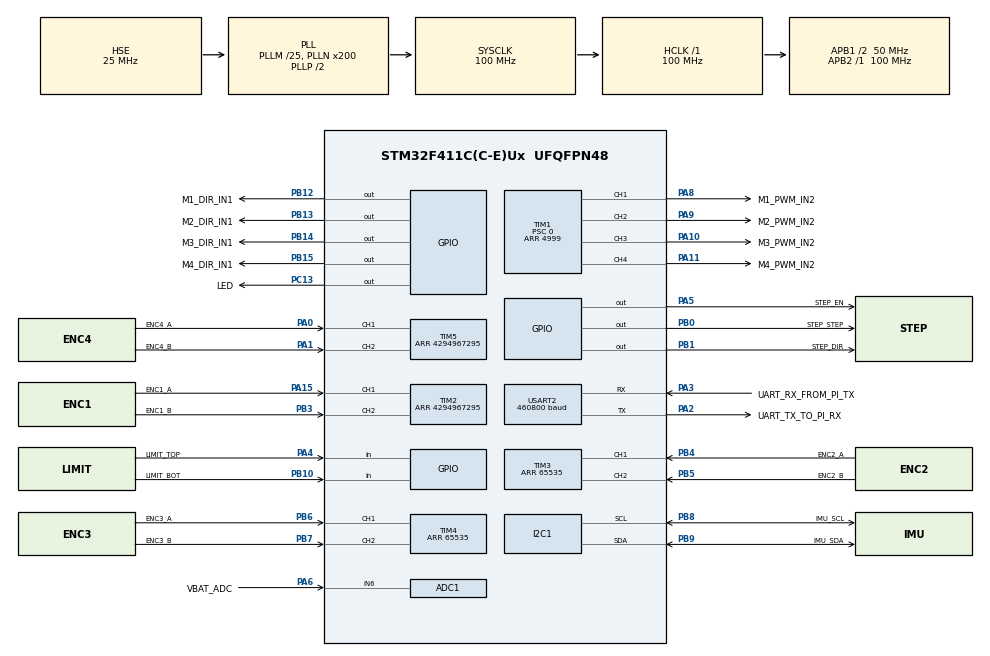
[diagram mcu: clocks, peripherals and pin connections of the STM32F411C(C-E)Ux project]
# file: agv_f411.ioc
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ADC1.Channel-0\#ChannelRegularConversion=ADC_CHANNEL_6
ADC1.NbrOfConversionFlag=1
ADC1.Rank-0\#ChannelRegularConversion=1
ADC1.SamplingTime-0\#ChannelRegularConversion=ADC_SAMPLETIME_480CYCLES
ADC1.master=1
Dma.Request0=USART2_RX
Dma.Request1=USART2_TX
Dma.USART2_RX.0.Direction=DMA_PERIPH_TO_MEMORY
Dma.USART2_RX.0.FIFOMode=DMA_FIFOMODE_DISABLE
Dma.USART2_RX.0.Instance=DMA1_Stream5
Dma.USART2_RX.0.MemDataAlignment=DMA_MDATAALIGN_BYTE
Dma.USART2_RX.0.MemInc=DMA_MINC_ENABLE
Dma.USART2_RX.0.Mode=DMA_CIRCULAR
Dma.USART2_RX.0.PeriphDataAlignment=DMA_PDATAALIGN_BYTE
Dma.USART2_RX.0.PeriphInc=DMA_PINC_DISABLE
Dma.USART2_RX.0.Priority=DMA_PRIORITY_LOW
Dma.USART2_TX.1.Direction=DMA_MEMORY_TO_PERIPH
Dma.USART2_TX.1.FIFOMode=DMA_FIFOMODE_DISABLE
Dma.USART2_TX.1.Instance=DMA1_Stream6
Dma.USART2_TX.1.MemDataAlignment=DMA_MDATAALIGN_BYTE
Dma.USART2_TX.1.MemInc=DMA_MINC_ENABLE
Dma.USART2_TX.1.Mode=DMA_NORMAL
Dma.USART2_TX.1.PeriphDataAlignment=DMA_PDATAALIGN_BYTE
Dma.USART2_TX.1.PeriphInc=DMA_PINC_DISABLE
Dma.USART2_TX.1.Priority=DMA_PRIORITY_LOW
I2C1.I2C_Mode=I2C_Fast
Mcu.Family=STM32F4
Mcu.Name=STM32F411C(C-E)Ux
Mcu.Package=UFQFPN48
NVIC.DMA1_Stream5_IRQn=true\:0\:0\:false\:false\:true\:false\:true\:true
NVIC.DMA1_Stream6_IRQn=true\:0\:0\:false\:false\:true\:false\:true\:true
NVIC.PriorityGroup=NVIC_PRIORITYGROUP_4
NVIC.TIM1_TRG_COM_TIM11_IRQn=true\:1\:0\:false\:false\:true\:true\:true\:true
NVIC.TIM1_UP_TIM10_IRQn=true\:0\:0\:false\:false\:true\:true\:true\:true
NVIC.USART2_IRQn=true\:2\:0\:false\:false\:true\:true\:true\:true
PA0-WKUP.GPIO_Label=ENC4_A
PA0-WKUP.GPIO_PuPd=GPIO_PULLUP
PA0-WKUP.Signal=S_TIM5_CH1
PA1.GPIO_Label=ENC4_B
PA1.GPIO_PuPd=GPIO_PULLUP
PA1.Signal=S_TIM5_CH2
PA10.GPIO_Label=M3_PWM_IN2
PA10.Signal=S_TIM1_CH3
PA11.GPIO_Label=M4_PWM_IN2
PA11.Signal=S_TIM1_CH4
PA13.Mode=Serial_Wire
PA13.Signal=SYS_JTMS-SWDIO
PA14.Mode=Serial_Wire
PA14.Signal=SYS_JTCK-SWCLK
PA15.GPIO_Label=ENC1_A
PA15.GPIO_PuPd=GPIO_PULLUP
PA15.Signal=S_TIM2_CH1_ETR
PA2.GPIO_Label=UART_TX_TO_PI_RX
PA2.Mode=Asynchronous
PA2.Signal=USART2_TX
PA3.GPIO_Label=UART_RX_FROM_PI_TX
PA3.Mode=Asynchronous
PA3.Signal=USART2_RX
PA4.GPIO_Label=LIMIT_TOP
PA4.GPIO_PuPd=GPIO_PULLUP
PA4.Signal=GPIO_Input
PA5.GPIO_Label=STEP_EN
PA5.PinState=GPIO_PIN_SET
PA5.Signal=GPIO_Output
PA6.GPIO_Label=VBAT_ADC
PA6.Signal=ADCx_IN6
PA8.GPIO_Label=M1_PWM_IN2
PA8.Signal=S_TIM1_CH1
PA9.GPIO_Label=M2_PWM_IN2
PA9.Signal=S_TIM1_CH2
PB0.GPIO_Label=STEP_STEP
PB0.GPIO_Speed=GPIO_SPEED_FREQ_HIGH
PB0.Signal=GPIO_Output
PB1.GPIO_Label=STEP_DIR
PB1.Signal=GPIO_Output
PB10.GPIO_Label=LIMIT_BOT
PB10.GPIO_PuPd=GPIO_PULLUP
PB10.Signal=GPIO_Input
PB12.GPIO_Label=M1_DIR_IN1
PB12.Signal=GPIO_Output
PB13.GPIO_Label=M2_DIR_IN1
PB13.Signal=GPIO_Output
PB14.GPIO_Label=M3_DIR_IN1
PB14.Signal=GPIO_Output
PB15.GPIO_Label=M4_DIR_IN1
PB15.Signal=GPIO_Output
PB3.GPIO_Label=ENC1_B
PB3.GPIO_PuPd=GPIO_PULLUP
PB3.Signal=S_TIM2_CH2
PB4.GPIO_Label=ENC2_A
PB4.GPIO_PuPd=GPIO_PULLUP
PB4.Signal=S_TIM3_CH1
PB5.GPIO_Label=ENC2_B
PB5.GPIO_PuPd=GPIO_PULLUP
PB5.Signal=S_TIM3_CH2
PB6.GPIO_Label=ENC3_A
PB6.GPIO_PuPd=GPIO_PULLUP
PB6.Signal=S_TIM4_CH1
PB7.GPIO_Label=ENC3_B
PB7.GPIO_PuPd=GPIO_PULLUP
PB7.Signal=S_TIM4_CH2
PB8.GPIO_Label=IMU_SCL
PB8.GPIO_PuPd=GPIO_PULLUP
PB8.Mode=I2C
PB8.Signal=I2C1_SCL
PB9.GPIO_Label=IMU_SDA
PB9.GPIO_PuPd=GPIO_PULLUP
PB9.Mode=I2C
PB9.Signal=I2C1_SDA
PC13-ANTI_TAMP.GPIO_Label=LED
PC13-ANTI_TAMP.PinState=GPIO_PIN_SET
PC13-ANTI_TAMP.Signal=GPIO_Output
PH0\ -\ OSC_IN.Mode=HSE-External-Oscillator
PH0\ -\ OSC_IN.Signal=RCC_OSC_IN
PH1\ -\ OSC_OUT.Mode=HSE-External-Oscillator
PH1\ -\ OSC_OUT.Signal=RCC_OSC_OUT
ProjectManager.HeapSize=0x200
ProjectManager.StackSize=0x400
ProjectManager.TargetToolchain=STM32CubeIDE
RCC.48MHZClocksFreq_Value=50000000
RCC.AHBFreq_Value=100000000
RCC.APB1CLKDivider=RCC_HCLK_DIV2
RCC.APB1Freq_Value=50000000
RCC.APB1TimFreq_Value=100000000
RCC.APB2Freq_Value=100000000
RCC.APB2TimFreq_Value=100000000
RCC.CortexFreq_Value=100000000
RCC.HCLKFreq_Value=100000000
RCC.HSE_VALUE=25000000
RCC.HSI_VALUE=16000000
RCC.LSE_VALUE=32768
RCC.PLLM=25
RCC.PLLN=200
RCC.PLLP=RCC_PLLP_DIV2
RCC.PLLQ=4
RCC.PLLSourceVirtual=RCC_PLLSOURCE_HSE
RCC.SYSCLKFreq_VALUE=100000000
RCC.SYSCLKSource=RCC_SYSCLKSOURCE_PLLCLK
RCC.VCOOutputFreq_Value=200000000
SH.ADCx_IN6.0=ADC1_IN6,IN6
SH.S_TIM1_CH1.0=TIM1_CH1,PWM Generation1 CH1
SH.S_TIM1_CH2.0=TIM1_CH2,PWM Generation2 CH2
SH.S_TIM1_CH3.0=TIM1_CH3,PWM Generation3 CH3
SH.S_TIM1_CH4.0=TIM1_CH4,PWM Generation4 CH4
SH.S_TIM2_CH1_ETR.0=TIM2_CH1,Encoder_Interface
SH.S_TIM2_CH2.0=TIM2_CH2,Encoder_Interface
SH.S_TIM3_CH1.0=TIM3_CH1,Encoder_Interface
SH.S_TIM3_CH2.0=TIM3_CH2,Encoder_Interface
SH.S_TIM4_CH1.0=TIM4_CH1,Encoder_Interface
SH.S_TIM4_CH2.0=TIM4_CH2,Encoder_Interface
SH.S_TIM5_CH1.0=TIM5_CH1,Encoder_Interface
SH.S_TIM5_CH2.0=TIM5_CH2,Encoder_Interface
TIM1.Channel-PWM\ Generation1\ CH1=TIM_CHANNEL_1
TIM1.Channel-PWM\ Generation2\ CH2=TIM_CHANNEL_2
TIM1.Channel-PWM\ Generation3\ CH3=TIM_CHANNEL_3
TIM1.Channel-PWM\ Generation4\ CH4=TIM_CHANNEL_4
TIM1.Period=4999
TIM1.Prescaler=0
TIM10.Period=999
TIM10.Prescaler=99
TIM11.Period=999
TIM11.Prescaler=99
TIM2.EncoderMode=TIM_ENCODERMODE_TI12
TIM2.IC1Filter=8
TIM2.IC2Filter=8
TIM2.Period=4294967295
TIM3.EncoderMode=TIM_ENCODERMODE_TI12
TIM3.IC1Filter=8
TIM3.IC2Filter=8
TIM3.Period=65535
TIM4.EncoderMode=TIM_ENCODERMODE_TI12
TIM4.IC1Filter=8
TIM4.IC2Filter=8
TIM4.Period=65535
TIM5.EncoderMode=TIM_ENCODERMODE_TI12
TIM5.IC1Filter=8
TIM5.IC2Filter=8
TIM5.Period=4294967295
USART2.BaudRate=460800
USART2.VirtualMode=VM_ASYNC
VP_TIM10_VS_ClockSourceINT.Mode=Enable_Timer
VP_TIM11_VS_ClockSourceINT.Mode=Enable_Timer
VP_TIM1_VS_ClockSourceINT.Mode=Internal
board=custom

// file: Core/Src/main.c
/* USER CODE BEGIN Header */
/**
  ******************************************************************************
  * @file           : main.c
  * @brief          : Main program body
  ******************************************************************************
  * @attention
  *
  * Copyright (c) 2026 STMicroelectronics.
  * All rights reserved.
  *
  * This software is licensed under terms that can be found in the LICENSE file
  * in the root directory of this software component.
  * If no LICENSE file comes with this software, it is provided AS-IS.
  *
  ******************************************************************************
  */
/* USER CODE END Header */
#include "main.h"
#include "adc.h"
#include "dma.h"
#include "i2c.h"
#include "tim.h"
#include "usart.h"
#include "gpio.h"

/* USER CODE BEGIN Includes */
#include "agv_config.h"
#include "batt.h"
#include "console.h"
#include "drive.h"
#include "imu.h"
#include "lift.h"
#include "link.h"
#include "motor.h"
#include "params.h"
#include "wheel.h"
#include <stdlib.h>
#include <string.h>
/* USER CODE END Includes */

/* USER CODE BEGIN PD */
/* USART2 (C11), 460800 8N1:
 *  - Pi gui khung nhi phan (link.h) -> chay that, telemetry nhi phan 50 Hz
 *  - Go lenh chu (CH340) -> console de thu mach, xem print_help() */
/* USER CODE END PD */

/* USER CODE BEGIN PV */
static uint8_t imu_who;
static uint8_t telem_on = 1;          /* in trang thai chu */
static uint32_t telem_ms = TELEM_PERIOD_MS;   /* doi bang lenh "r" */
static uint32_t test_t0;              /* lenh chu "m"/"v" dang chay: tu dung sau MOTOR_TEST_MS */
static uint8_t test_run;
static uint32_t test_len = MOTOR_TEST_MS;
static int32_t drive_counts;          /* lenh "d": so xung trung binh can di (>0), 0 = khong chay */
static int32_t enc_start[4];
static uint32_t link_last_ms;         /* lan cuoi nhan khung hop le */
static uint8_t link_seen, link_timeout, wdg_reset;
static uint8_t lift_was_busy;
/* USER CODE END PV */

void SystemClock_Config(void);

/* USER CODE BEGIN 0 */
static void iwdg_start(void)
{
  IWDG->KR = 0xCCCC;                  /* bat truoc: LSI chi chay sau lenh nay, SR moi xoa duoc */
  IWDG->KR = 0x5555;                  /* mo khoa PR, RLR */
  IWDG->PR = 3;                       /* LSI 32 kHz / 32 = 1 kHz -> 1 don vi = 1 ms */
  IWDG->RLR = IWDG_TIMEOUT_MS;
  while (IWDG->SR) { }
  IWDG->KR = 0xAAAA;
}

static void print_help(void)
{
  /* in tung dong: bo dem Con_Printf chi 192 ky tu */
  Con_Printf("\r\n=== AGV F411 ===\r\n");
  Con_Printf("m <1-4> <-100..100>  PWM tho 1 dong co %lu ms (0 = ca 4)\r\n", (unsigned long)MOTOR_TEST_MS);
  Con_Printf("v <s1> <s2> <s3> <s4> PID toc do (xung/s) %lu ms\r\n", (unsigned long)MOTOR_TEST_MS);
  Con_Printf("d <so xung> <%%>       4 banh chay toi khi du so xung roi dung\r\n");
  Con_Printf("k <KF> <KP> <KI> <KS>  doi he so PID (phan nghin), r <ms> chu ky in\r\n");
  Con_Printf("b vx vy wz giu | g dau kp kd | j ki | c bu_lui he_so | p in | w luu | z xoa luu\r\n");
  Con_Printf("l <so buoc>          nang (+) / ha (-), 1600 buoc = 1 vong\r\n");
  Con_Printf("h                    ve goc (xuong toi cong tac BOT)\r\n");
  Con_Printf("s                    dung tat ca\r\n");
  Con_Printf("t / i / ?            bat-tat in trang thai / in 1 lan / tro giup\r\n");
}

static void print_status(void)
{
  uint32_t mv = Batt_ReadMv();
  Con_Printf("ENC %ld %ld %ld %ld | V %d %d %d %d | PIN %lu.%02lu V | TOP %s BOT %s | LIFT %ld%s%s",
             (long)Wheel_Count(0), (long)Wheel_Count(1), (long)Wheel_Count(2), (long)Wheel_Count(3),
             Wheel_Speed(0), Wheel_Speed(1), Wheel_Speed(2), Wheel_Speed(3),
             (unsigned long)(mv / 1000U), (unsigned long)(mv % 1000U / 10U),
             HAL_GPIO_ReadPin(LIMIT_TOP_GPIO_Port, LIMIT_TOP_Pin) == GPIO_PIN_RESET ? "CHAM" : "-",
             HAL_GPIO_ReadPin(LIMIT_BOT_GPIO_Port, LIMIT_BOT_Pin) == GPIO_PIN_RESET ? "CHAM" : "-",
             (long)Lift_Pos(), Lift_Busy() ? " (chay)" : "", Lift_Homed() ? " goc-OK" : "");
  Con_Printf(" | H %ld", (long)(Drive_Heading() * 10.0f));   /* huong, phan muoi do, + = trai */
  int16_t a[3], g[3];
  if (!imu_who) imu_who = IMU_Init();      /* MPU6050 khoi dong cham hon F411: thu lai */
  if (imu_who && IMU_Read(a, g))
    Con_Printf(" | A %d %d %d G %d %d %d\r\n", a[0], a[1], a[2], g[0], g[1], g[2]);
  else
    Con_Printf(" | IMU loi I2C 0x%02lX\r\n", (unsigned long)HAL_I2C_GetError(&hi2c1));
}

static void stop_all(void)
{
  Drive_Off();
  Wheel_Stop();
  test_run = 0;
  drive_counts = 0;
  Lift_Stop();
  Lift_Enable(0);
}

static void lift_move_up(int32_t steps_up, float sps)
{
  Lift_Enable(1);
  HAL_Delay(2);
  if (!Lift_MoveSteps(steps_up * LIFT_DIR_UP, sps, LIFT_TEST_ACCEL) && !link_seen)
    Con_Printf("khong chay: 0 buoc hoac dang cham cong tac phia do\r\n");
}

static void start_test(void)
{
  test_len = MOTOR_TEST_MS;
  Drive_Off();                                /* lenh banh rieng le */
  drive_counts = 0;                           /* "d" dat lai sau khi goi ham nay */
  for (int ch = 0; ch < 4; ch++) enc_start[ch] = Wheel_Count(ch);
  test_run = 1;
  test_t0 = HAL_GetTick();
}

/* ---------- lenh chu (CH340) ---------- */
static void handle_cmd(char *cmd)
{
  /* Lenh chat: 1 chu cai, sau do chi la so nguyen cach nhau bang dau cach.
   * Sai so luong tham so hoac co ky tu la -> khong lam gi (tranh rac thanh lenh). */
  static const struct { char c; int n; } fmt[] = {
    { 'm', 2 }, { 'v', 4 }, { 'd', 2 }, { 'k', 4 }, { 'r', 1 }, { 'b', 4 }, { 'g', 3 }, { 'c', 2 }, { 'j', 1 }, { 'w', 0 }, { 'p', 0 }, { 'z', 0 }, { 'l', 1 }, { 'h', 0 }, { 's', 0 }, { 't', 0 }, { 'i', 0 }, { '?', 0 },
  };
  char c = cmd[0];
  if (cmd[1] != '\0' && cmd[1] != ' ') c = 0;
  int need = -1;
  for (unsigned k = 0; k < sizeof fmt / sizeof fmt[0]; k++)
    if (fmt[k].c == c) need = fmt[k].n;
  long a[4] = { 0, 0, 0, 0 };
  int got = 0;
  char *p = cmd + 1;
  while (need >= 0) {
    while (*p == ' ') p++;
    if (*p == '\0') break;
    char *e;
    long v = strtol(p, &e, 10);
    if (e == p || got >= 4 || (*e != ' ' && *e != '\0')) { need = -2; break; }
    a[got++] = v;
    p = e;
  }
  if (need < 0 || got != need) {
    if (c == 's') stop_all();                 /* "s" kem rac van coi la dung, cho an toan */
    Con_Printf("bo qua lenh: \"%s\" (go ? de xem lenh)\r\n", cmd);
    return;
  }
  if (c == 'l' && (a[0] > LIFT_MAX_MOVE_STEPS || a[0] < -LIFT_MAX_MOVE_STEPS)) {
    Con_Printf("sai: l toi da +-%ld buoc moi lenh\r\n", (long)LIFT_MAX_MOVE_STEPS);
    return;
  }

  switch (c) {
  case 'm': {
    if (a[0] < 0 || a[0] > 4 || a[1] < -100 || a[1] > 100) {
      Con_Printf("sai: m <0-4> <-100..100>\r\n");
      break;
    }
    Wheel_Stop();                             /* PWM tho, bo qua MOTOR_SIGN de thu tung kenh */
    int32_t duty = (int32_t)(a[1] * MOTOR_PWM_TOP / 100);
    for (int ch = 0; ch < 4; ch++)
      if (a[0] == 0 || a[0] == ch + 1) Motor_Set(ch, duty);
    start_test();
    Con_Printf("chay M%ld %ld%% ...\r\n", a[0], a[1]);
    break;
  }
  case 'd': {                                 /* d <so xung> <%>: 4 banh cung chieu toi khi du xung */
    if (a[0] <= 0 || a[0] > 200000 || a[1] < -100 || a[1] > 100 || a[1] == 0) {
      Con_Printf("sai: d <so xung 1..200000> <-100..100 khac 0>\r\n");
      break;
    }
    int16_t duty = (int16_t)(a[1] * MOTOR_PWM_TOP / 100);
    int16_t d4[4] = { duty, duty, duty, duty };
    Wheel_Stop();
    Wheel_SetPwm(d4);                           /* dau tung banh + tang dan: trong wheel.c */
    start_test();
    drive_counts = (int32_t)a[0];
    Con_Printf("di %ld xung, %ld%% ...\r\n", a[0], a[1]);
    break;
  }
  case 'k': {                                 /* k <kf> <kp> <ki> <ks>: phan nghin, vd k 730 250 2500 600000 */
    Wheel_SetGains(a[0] / 1000.0f, a[1] / 1000.0f, a[2] / 1000.0f, a[3] / 1000.0f);
    float f, pp, ii, ss;
    Wheel_GetGains(&f, &pp, &ii, &ss);
    Con_Printf("PID: KF %ld KP %ld KI %ld KS %ld (phan nghin)\r\n",
               (long)(f * 1000), (long)(pp * 1000), (long)(ii * 1000), (long)(ss * 1000));
    break;
  }
  case 'r':                                   /* r <ms>: chu ky in trang thai 20..2000 ms */
    if (a[0] < 20 || a[0] > 2000) {
      Con_Printf("sai: r <20..2000 ms>\r\n");
      break;
    }
    telem_ms = (uint32_t)a[0];
    telem_on = 1;
    break;
  case 'b': {                                 /* b <vx> <vy> <wz> <giu huong 0/1>: ca xe, xung/s */
    start_test();
    test_len = DRIVE_TEST_MS;
    Drive_Set((int16_t)a[0], (int16_t)a[1], (int16_t)a[2], a[3] != 0);
    Con_Printf("xe vx %ld vy %ld wz %ld giu huong %ld, huong %ld.%01ld do ...\r\n", a[0], a[1], a[2], a[3],
               (long)Drive_Heading(), (long)((Drive_Heading() < 0 ? -Drive_Heading() : Drive_Heading()) * 10) % 10);
    break;
  }
  case 'g': {                                 /* g <dau gyro +-1> <kp*1000> <kd*1000> */
    Drive_SetGyro((int8_t)a[0], a[1] / 1000.0f, a[2] / 1000.0f);
    int8_t sg; float kp_, kd_, b_;
    Drive_GetGyro(&sg, &kp_, &kd_, &b_);
    Con_Printf("gyro dau %d KP %ld KD %ld (phan nghin), lech goc %ld\r\n", sg, (long)(kp_ * 1000), (long)(kd_ * 1000), (long)b_);
    break;
  }
  case 'w':                                   /* luu thong so vao flash (dung xe truoc) */
    stop_all();
    Con_Printf("dang luu ...\r\n");
    Con_Printf(Params_Save() ? "DA LUU thong so vao flash\r\n" : "LUU LOI\r\n");
    break;
  case 'p':
    Params_Print();
    break;
  case 'z':                                   /* xoa ban luu, lan khoi dong sau dung mac dinh */
    stop_all();
    Con_Printf(Params_Clear() ? "da xoa ban luu, reset de dung mac dinh\r\n" : "XOA LOI\r\n");
    break;
  case 'j':                                   /* j <ki*1000>: tich phan giu huong */
    Drive_SetHeadingKi(a[0] / 1000.0f);
    Con_Printf("giu huong KI %ld (phan nghin)\r\n", a[0]);
    break;
  case 'c':                                   /* c <bu lui PWM 0..2500> <he so*1000> */
    if (a[0] < 0 || a[0] > 2500 || a[1] < 300 || a[1] > 1500) {
      Con_Printf("sai: c <0..2500> <300..1500>\r\n");
      break;
    }
    Motor_SetRevComp((int32_t)a[0], a[1] / 1000.0f);
    Con_Printf("bu lui: %ld + %ld/1000 x lenh\r\n", a[0], a[1]);
    break;
  case 'v': {
    int16_t cps[4];
    for (int i = 0; i < 4; i++) cps[i] = (int16_t)a[i];
    Wheel_SetSpeed(cps);
    start_test();
    Con_Printf("PID %ld %ld %ld %ld xung/s ...\r\n", a[0], a[1], a[2], a[3]);
    break;
  }
  case 's':
    stop_all();
    Con_Printf("da dung\r\n");
    break;
  case 'l':
    lift_move_up((int32_t)a[0], LIFT_TEST_SPS);
    Con_Printf("nang ha %ld buoc\r\n", a[0]);
    break;
  case 'h':
    Lift_Enable(1);
    HAL_Delay(2);
    Lift_Home(LIFT_HOME_SPS, LIFT_TEST_ACCEL);
    Con_Printf("ve goc ...\r\n");
    break;
  case 't':
    telem_on = !telem_on;
    break;
  case 'i':
    print_status();
    break;
  default:
    print_help();
    break;
  }
}

/* ---------- khung nhi phan tu Pi ---------- */
static int16_t rd16(const uint8_t *b) { return (int16_t)(b[0] | (b[1] << 8)); }
static int32_t rd32(const uint8_t *b) { return (int32_t)(b[0] | (b[1] << 8) | (b[2] << 16) | ((uint32_t)b[3] << 24)); }

static void handle_frame(const link_frame_t *f)
{
  link_last_ms = HAL_GetTick();
  link_seen = 1;
  link_timeout = 0;
  test_run = 0;                               /* Pi dieu khien -> bo che do thu */
  drive_counts = 0;

  switch (f->cmd) {
  case LINK_CMD_SPEED:
  case LINK_CMD_PWM:
    Drive_Off();
    if (f->len == 8) {
      int16_t v[4];
      for (int i = 0; i < 4; i++) v[i] = rd16(&f->payload[2 * i]);
      if (f->cmd == LINK_CMD_SPEED) Wheel_SetSpeed(v);
      else Wheel_SetPwm(v);
    }
    break;
  case LINK_CMD_BODY:
    if (f->len == 7) {
      Drive_Set(rd16(f->payload), rd16(&f->payload[2]), rd16(&f->payload[4]), f->payload[6] != 0);
    }
    break;
  case LINK_CMD_STOP:
    stop_all();
    break;
  case LINK_CMD_LIFT_MOVE:
    if (f->len == 6) lift_move_up(rd32(f->payload), (float)(uint16_t)rd16(&f->payload[4]));
    break;
  case LINK_CMD_LIFT_HOME:
    if (f->len == 2) {
      Lift_Enable(1);
      HAL_Delay(2);
      Lift_Home((float)(uint16_t)rd16(f->payload), LIFT_TEST_ACCEL);
    }
    break;
  default:                                    /* PING hoac lenh la: chi lam moi lien ket */
    break;
  }
}

static void send_telem(void)
{
  static uint16_t batt_mv;
  static uint8_t batt_div;
  link_telem_t t;
  memset(&t, 0, sizeof t);
  t.ms = HAL_GetTick();
  for (int i = 0; i < 4; i++) {
    t.enc[i] = Wheel_Count(i);
    t.speed[i] = Wheel_Speed(i);
  }
  if (!imu_who) imu_who = IMU_Init();
  int16_t acc[3] = {0}, gyro[3] = {0};
  uint8_t imu_ok = imu_who && IMU_Read(acc, gyro);
  memcpy(t.acc, acc, sizeof acc);             /* struct packed: khong truyen con tro thang vao */
  memcpy(t.gyro, gyro, sizeof gyro);
  if (batt_div++ % 10U == 0U) batt_mv = (uint16_t)Batt_ReadMv();   /* pin doi cham: 5 Hz du */
  t.batt_mv = batt_mv;
  t.lift_pos = Lift_Pos();
  t.flags = (HAL_GPIO_ReadPin(LIMIT_TOP_GPIO_Port, LIMIT_TOP_Pin) == GPIO_PIN_RESET ? LINK_F_LIMIT_TOP : 0)
          | (HAL_GPIO_ReadPin(LIMIT_BOT_GPIO_Port, LIMIT_BOT_Pin) == GPIO_PIN_RESET ? LINK_F_LIMIT_BOT : 0)
          | (Lift_Busy() ? LINK_F_LIFT_BUSY : 0)
          | (Lift_Homed() ? LINK_F_LIFT_HOMED : 0)
          | (imu_ok ? LINK_F_IMU_OK : 0)
          | (link_timeout ? LINK_F_TIMEOUT : 0)
          | (wdg_reset ? LINK_F_WDG_RESET : 0);
  t.wheel_mode = Wheel_Mode();
  float h = Drive_Heading();
  while (h > 180.0f) h -= 360.0f;
  while (h < -180.0f) h += 360.0f;
  t.heading_cdeg = (int16_t)(h * 100.0f);
  Link_Send(LINK_CMD_TELEM, &t, sizeof t);
}
/* USER CODE END 0 */

int main(void)
{

  /* MCU Configuration--------------------------------------------------------*/

  /* Reset of all peripherals, Initializes the Flash interface and the Systick. */
  HAL_Init();

  /* Configure the system clock */
  SystemClock_Config();

  /* Initialize all configured peripherals */
  MX_GPIO_Init();
  MX_DMA_Init();
  MX_TIM1_Init();
  MX_TIM2_Init();
  MX_TIM3_Init();
  MX_TIM4_Init();
  MX_TIM5_Init();
  MX_TIM10_Init();
  MX_TIM11_Init();
  MX_USART2_UART_Init();
  MX_I2C1_Init();
  MX_ADC1_Init();
  /* USER CODE BEGIN 2 */
  wdg_reset = (RCC->CSR & RCC_CSR_IWDGRSTF) != 0;
  RCC->CSR |= RCC_CSR_RMVF;
  Con_Init();
  Motor_Init();
  Wheel_Init();
  Lift_Init();
  imu_who = IMU_Init();
  if (!imu_who) { HAL_Delay(150); imu_who = IMU_Init(); }   /* MPU khoi dong cham */
  Drive_Init();                               /* do lech goc gyro: xe dung yen ~0.3 s */
  Con_Printf(Params_Load() ? "thong so: ban da luu trong flash\r\n" : "thong so: mac dinh agv_config.h\r\n");
  print_help();
  if (wdg_reset) Con_Printf("!!! khoi dong lai do WATCHDOG (chip bi treo)\r\n");
  Con_Printf("MPU6050 WHO_AM_I = 0x%02X %s\r\n", imu_who,
             imu_who == 0x68 ? "(OK)" : imu_who ? "(chip nhai, van dung duoc)" : "(KHONG THAY - kiem tra day)");
  iwdg_start();

  uint32_t last_ms = HAL_GetTick();
  uint32_t t_telem = last_ms, t_led = last_ms, t_link = last_ms;
  uint8_t ctrl_div = 0;
  char cmd[64];
  link_frame_t frame;
  /* USER CODE END 2 */

  /* Infinite loop */
  while (1)
  {

    /* USER CODE BEGIN 3 */
    IWDG->KR = 0xAAAA;                  /* cho cho an */
    uint32_t now = HAL_GetTick();
    while (last_ms != now) {             /* bu lai neu vong lap bi tre do in */
      last_ms++;
      Enc_Update();
      Lift_Tick1ms();
      if (++ctrl_div >= CTRL_PERIOD_MS) {
        ctrl_div = 0;
        Drive_Ctrl();
        Wheel_Ctrl();
      }
    }

    /* nang ha dung -> tat driver cho mat (vitme tu ham) */
    if (LIFT_AUTO_DISABLE && lift_was_busy && !Lift_Busy()) Lift_Enable(0);
    lift_was_busy = Lift_Busy();

    /* an toan: Pi dang dieu khien ma mat khung qua LINK_TIMEOUT_MS -> dung */
    if (link_seen && !link_timeout && now - link_last_ms > LINK_TIMEOUT_MS) {
      stop_all();
      link_timeout = 1;
    }
    uint8_t link_active = link_seen && now - link_last_ms < LINK_ACTIVE_MS;

    if (test_run && drive_counts) {             /* lenh "d": dung khi trung binh 4 banh du xung */
      int32_t sum = 0;
      for (int ch = 0; ch < 4; ch++) {
        int32_t d = Wheel_Count(ch) - enc_start[ch];
        sum += d < 0 ? -d : d;
      }
      uint8_t timeout = now - test_t0 >= DRIVE_TIMEOUT_MS;
      if (sum / 4 >= drive_counts || timeout) {
        Wheel_Stop();
        test_run = 0;
        drive_counts = 0;
        Con_Printf("%s, xung: %ld %ld %ld %ld\r\n", timeout ? "HET GIO" : "da toi",
                   (long)(Wheel_Count(0) - enc_start[0]), (long)(Wheel_Count(1) - enc_start[1]),
                   (long)(Wheel_Count(2) - enc_start[2]), (long)(Wheel_Count(3) - enc_start[3]));
      }
    } else if (test_run && now - test_t0 >= test_len) {
      Drive_Off();
      Wheel_Stop();
      test_run = 0;
      Con_Printf("xong, xung encoder trong %lu ms: %ld %ld %ld %ld\r\n", (unsigned long)MOTOR_TEST_MS,
                 (long)(Wheel_Count(0) - enc_start[0]), (long)(Wheel_Count(1) - enc_start[1]),
                 (long)(Wheel_Count(2) - enc_start[2]), (long)(Wheel_Count(3) - enc_start[3]));
    }

    Con_Poll();
    while (Link_Get(&frame))
      handle_frame(&frame);
    if (Con_GetLine(cmd, sizeof cmd)) {
      link_seen = 0;                     /* go lenh chu -> ve che do console */
      handle_cmd(cmd);
    }

    if (link_active) {
      if (now - t_link >= LINK_TELEM_MS) {
        t_link = now;
        send_telem();
      }
    } else if (telem_on && now - t_telem >= telem_ms) {
      t_telem = now;
      print_status();
    }

    if (now - t_led >= (link_active ? 100U : 500U)) {   /* nhay nhanh = Pi dang dieu khien */
      t_led = now;
      HAL_GPIO_TogglePin(LED_GPIO_Port, LED_Pin);
    }
  }
  /* USER CODE END 3 */
}

void SystemClock_Config(void)
{
  RCC_OscInitTypeDef RCC_OscInitStruct = {0};
  RCC_ClkInitTypeDef RCC_ClkInitStruct = {0};

  /** Configure the main internal regulator output voltage
  */
  __HAL_RCC_PWR_CLK_ENABLE();
  __HAL_PWR_VOLTAGESCALING_CONFIG(PWR_REGULATOR_VOLTAGE_SCALE1);

  /** Initializes the RCC Oscillators according to the specified parameters
  * in the RCC_OscInitTypeDef structure.
  */
  RCC_OscInitStruct.OscillatorType = RCC_OSCILLATORTYPE_HSE;
  RCC_OscInitStruct.HSEState = RCC_HSE_ON;
  RCC_OscInitStruct.PLL.PLLState = RCC_PLL_ON;
  RCC_OscInitStruct.PLL.PLLSource = RCC_PLLSOURCE_HSE;
  RCC_OscInitStruct.PLL.PLLM = 25;
  RCC_OscInitStruct.PLL.PLLN = 200;
  RCC_OscInitStruct.PLL.PLLP = RCC_PLLP_DIV2;
  RCC_OscInitStruct.PLL.PLLQ = 4;
  if (HAL_RCC_OscConfig(&RCC_OscInitStruct) != HAL_OK)
  {
    Error_Handler();
  }

  /** Initializes the CPU, AHB and APB buses clocks
  */
  RCC_ClkInitStruct.ClockType = RCC_CLOCKTYPE_HCLK|RCC_CLOCKTYPE_SYSCLK
                              |RCC_CLOCKTYPE_PCLK1|RCC_CLOCKTYPE_PCLK2;
  RCC_ClkInitStruct.SYSCLKSource = RCC_SYSCLKSOURCE_PLLCLK;
  RCC_ClkInitStruct.AHBCLKDivider = RCC_SYSCLK_DIV1;
  RCC_ClkInitStruct.APB1CLKDivider = RCC_HCLK_DIV2;
  RCC_ClkInitStruct.APB2CLKDivider = RCC_HCLK_DIV1;

  if (HAL_RCC_ClockConfig(&RCC_ClkInitStruct, FLASH_LATENCY_3) != HAL_OK)
  {
    Error_Handler();
  }
}

/* USER CODE BEGIN 4 */
void HAL_TIM_PeriodElapsedCallback(TIM_HandleTypeDef *htim)
{
  if (htim->Instance == TIM10) {
    Lift_StepISR();
  }
}

/* USER CODE END 4 */

void Error_Handler(void)
{
  /* USER CODE BEGIN Error_Handler_Debug */
  /* User can add his own implementation to report the HAL error return state */
  Motor_EmergencyOff();
  __disable_irq();
  while (1)
  {
  }
  /* USER CODE END Error_Handler_Debug */
}
